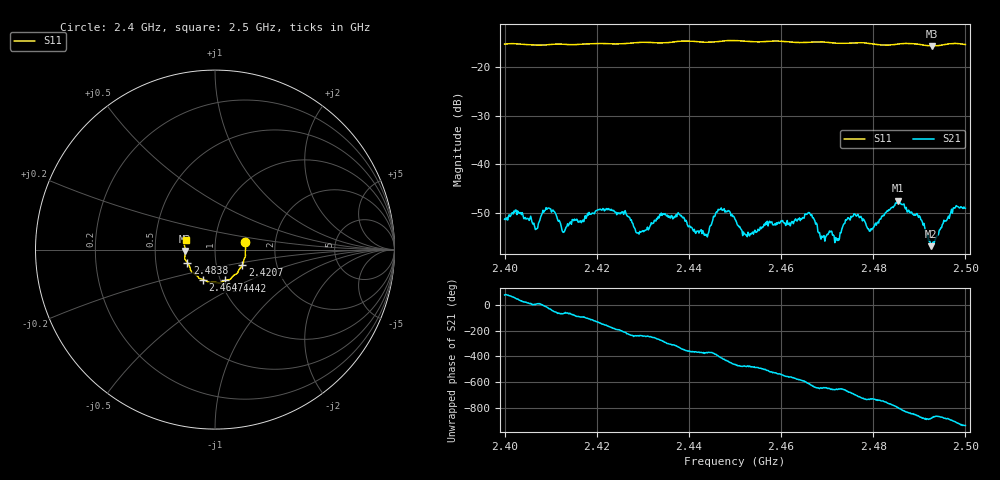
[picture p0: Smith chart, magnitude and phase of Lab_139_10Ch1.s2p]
# Hz S RI R 50
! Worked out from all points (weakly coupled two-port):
!   601 points, 2.4 GHz to 2.5 GHz, reference 50 ohm
!   highest |S21| = -47.47 dB at 2.4853 GHz (marker M1); lowest = -56.8 dB at 2.4925 GHz (marker M2)
!   lowest |S11| = -15.6 dB at 2.4927 GHz (marker M3), VSWR 1.40, Z = 35.8 - j0.545 ohm
!   |S11| at or under -10 dB: start of sweep to end of sweep
!   S12 and S22 are empty: the file has one direction only
!   S11 on the Smith chart (normalised r, x): 2.4 GHz: 1.40, +0.12; 2.4207 GHz: 1.33, -0.24; 2.4442 GHz: 1.05, -0.37; 2.4647 GHz: 0.83, -0.29; 2.4838 GHz: 0.73, -0.11; 2.5 GHz: 0.72, +0.08
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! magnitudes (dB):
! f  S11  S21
! 2.4 GHz  -15.2  -51.3
! 2.4095 GHz  -15.3  -49.0
! 2.4167 GHz  -15.3  -52.0
! 2.4207 GHz  -15.1  -49.2
! 2.429 GHz  -14.9  -54.1
! 2.4333 GHz  -15.0  -50.8
! 2.4442 GHz  -14.9  -54.3
! 2.4465 GHz  -14.7  -49.3
! 2.45 GHz  -14.5  -51.3
! 2.4527 GHz  -14.7  -54.9
! 2.4647 GHz  -14.9  -50.9
! 2.4667 GHz  -14.8  -50.4
! 2.4722 GHz  -15.1  -55.7
! 2.4757 GHz  -15.0  -50.6
! 2.4793 GHz  -15.1  -53.7
! 2.4833 GHz  -15.4  -49.3
! 2.4838 GHz  -15.4  -49.0
! 2.4853 GHz  -15.2  -47.5
! 2.49 GHz  -15.3  -50.6
! 2.4925 GHz  -15.6  -56.8
! 2.4927 GHz  -15.6  -56.8
! 2.5 GHz  -15.3  -49.0
